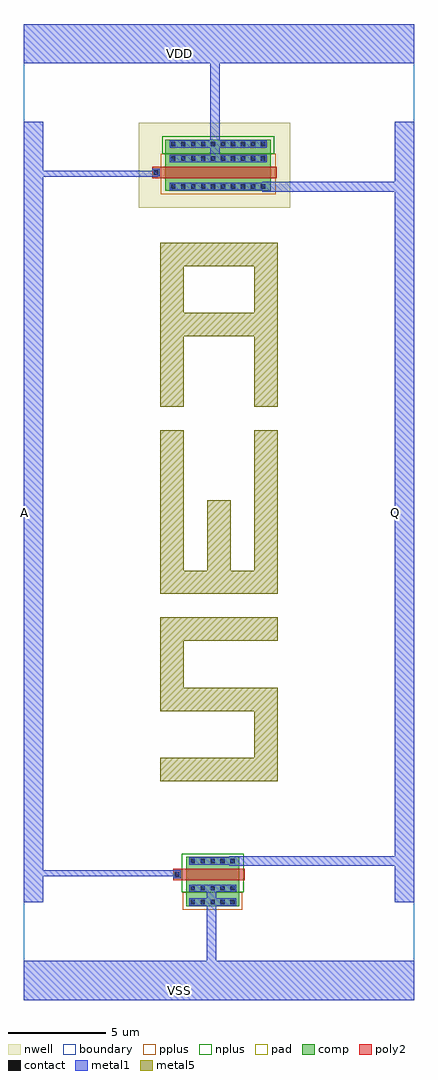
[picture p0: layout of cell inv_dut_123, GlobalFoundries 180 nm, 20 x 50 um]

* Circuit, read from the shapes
.subckt inv_dut_123 A Q VDD VSS
XM1 Q A VSS VSS nfet_03v3 w=2.7u l=0.6u
XM2 VDD A Q VDD pfet_03v3 w=5.4u l=0.6u
.ends

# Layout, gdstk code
from math import pi, radians
import gdstk
lib = gdstk.Library(unit=1e-6, precision=1e-09)
def R(c, l, rs):  # rectangles x0, y0, x1, y1
    for r in rs: c.add(gdstk.rectangle(r[:2], r[2:], *l))
def A(c, l, x, y, w, h, nx, ny, dx, dy):  # array of equal rectangles
    R(c, l, [(x+i*dx, y+j*dy, x+i*dx+w, y+j*dy+h) for i in range(nx) for j in range(ny)])
def P(c, l, *ps):  # polygons
    for p in ps: c.add(gdstk.Polygon(p, *l))
boundary = (0, 0)
nwell = (21, 0)
comp = (22, 0)
poly2 = (30, 0)
pplus = (31, 0)
nplus = (32, 0)
contact = (33, 0)
metal1 = (34, 0)
pad = (37, 0)
metal5 = (81, 0)

pfet = lib.new_cell('pfet')
R(pfet, nwell, [(-1.32,-0.99,3.03,6.77)])
R(pfet, comp, [(-0.46,0,2.17,5.4)])
R(pfet, poly2, [(0.19,-0.3,0.79,6.08)])
R(pfet, pplus, [(-0.63,-0.24,1.44,5.64)])
R(pfet, nplus, [(1.44,-0.17,2.34,5.57)])
A(pfet, contact, -0.34, 0.295, 0.22, 0.22, 1, 10, 0, 0.51)
A(pfet, contact, 1.1, 0.295, 0.22, 0.22, 1, 10, 0, 0.51)
A(pfet, contact, 1.83, 0.295, 0.22, 0.22, 1, 10, 0, 0.51)
R(pfet, contact, [(0.38,5.78,0.6,6)])
R(pfet, metal1, [(-0.42,0.215,-0.04,5.185), (1.02,0.215,1.4,5.185), (1.75,0.215,2.13,5.185), (0.3,5.7,0.68,6.08)])

nfet = lib.new_cell('nfet')
R(nfet, comp, [(-0.42,0,2.11,2.7)])
R(nfet, poly2, [(0.19,-0.66,0.79,3)])
R(nfet, pplus, [(1.4,-0.17,2.28,2.87)])
R(nfet, nplus, [(-0.59,-0.24,1.4,2.94)])
A(nfet, contact, -0.32, 0.22, 0.22, 0.22, 1, 5, 0, 0.51)
A(nfet, contact, 1.08, 0.22, 0.22, 0.22, 1, 5, 0, 0.51)
A(nfet, contact, 1.79, 0.22, 0.22, 0.22, 1, 5, 0, 0.51)
R(nfet, contact, [(0.38,-0.59,0.6,-0.37)])
R(nfet, metal1, [(0.3,-0.67,0.68,-0.29), (-0.4,0.14,-0.02,2.56), (1,0.14,1.38,2.56), (1.71,0.14,2.09,2.56)])

inv_dut_123 = lib.new_cell('inv_dut_123')
R(inv_dut_123, boundary, [(-10,-25,10,25)])
R(inv_dut_123, metal1, [(-10,-25,10,-23), (-10,-20,-9,20), (9,-20,10,20), (-10,23,10,25)])
P(inv_dut_123, pad, [(-3,-13.8),(-3,-12.6),(1.8,-12.6),(1.8,-10.2),(-3,-10.2),(-3,-5.4),(3,-5.4),(3,-6.6),(-1.8,-6.6),(-1.8,-9),(3,-9),(3,-13.8)],
  [(-3,-4.2),(-3,4.2),(-1.8,4.2),(-1.8,-3),(-0.6,-3),(-0.6,0.6),(0.6,0.6),(0.6,-3),(1.8,-3),(1.8,4.2),(3,4.2),(3,-4.2)],
  [(-3,5.4),(-3,12.6),(-1.8,12.6),(-1.8,10.2),(1.8,10.2),(1.8,12.6),(-3,12.6),(-3,13.8),(3,13.8),(3,5.4),(1.8,5.4),(1.8,9),(-1.8,9),(-1.8,5.4)])
P(inv_dut_123, metal5, [(-3,-13.8),(-3,-12.6),(1.8,-12.6),(1.8,-10.2),(-3,-10.2),(-3,-5.4),(3,-5.4),(3,-6.6),(-1.8,-6.6),(-1.8,-9),(3,-9),(3,-13.8)],
  [(-3,-4.2),(-3,4.2),(-1.8,4.2),(-1.8,-3),(-0.6,-3),(-0.6,0.6),(0.6,0.6),(0.6,-3),(1.8,-3),(1.8,4.2),(3,4.2),(3,-4.2)],
  [(-3,5.4),(-3,12.6),(-1.8,12.6),(-1.8,10.2),(1.8,10.2),(1.8,12.6),(-3,12.6),(-3,13.8),(3,13.8),(3,5.4),(1.8,5.4),(1.8,9),(-1.8,9),(-1.8,5.4)])
inv_dut_123.add(gdstk.FlexPath([(-0.2,23.415),(-0.2,17.99)], 0.5, ends="flush", simple_path=True, layer=34, datatype=0))  # metal1
inv_dut_123.add(gdstk.FlexPath([(-9.31,17.32),(-3.145,17.32),(-3.145,17.32),(-3.145,17.32)], 0.3, ends="flush", simple_path=True, layer=34, datatype=0))  # metal1
inv_dut_123.add(gdstk.FlexPath([(2.225,16.66),(9.33,16.66)], 0.5, ends="flush", simple_path=True, layer=34, datatype=0))  # metal1
inv_dut_123.add(gdstk.FlexPath([(-9.3,-18.515),(-2.115,-18.515),(-2.115,-18.655),(-2.115,-18.655)], 0.3, ends="flush", simple_path=True, layer=34, datatype=0))  # metal1
inv_dut_123.add(gdstk.FlexPath([(0.53,-17.875),(9.355,-17.875)], 0.5, ends="flush", simple_path=True, layer=34, datatype=0))  # metal1
inv_dut_123.add(gdstk.FlexPath([(-0.39,-19.265),(-0.39,-23.495)], 0.5, ends="flush", simple_path=True, layer=34, datatype=0))  # metal1
inv_dut_123.add(gdstk.Reference(pfet, (2.655,16.905), rotation=pi/2))
inv_dut_123.add(gdstk.Reference(nfet, (-1.675,-18.085), rotation=3*pi/2))
inv_dut_123.add(gdstk.Label('VDD', (-2,23.5), layer=34, texttype=10))
inv_dut_123.add(gdstk.Label('VSS', (-2,-24.5), layer=34, texttype=10))
inv_dut_123.add(gdstk.Label('A', (-9.97,0), layer=34, texttype=10))
inv_dut_123.add(gdstk.Label('Q', (9.03,0), layer=34, texttype=10))

lib.write_gds('inv_dut_123.gds')
